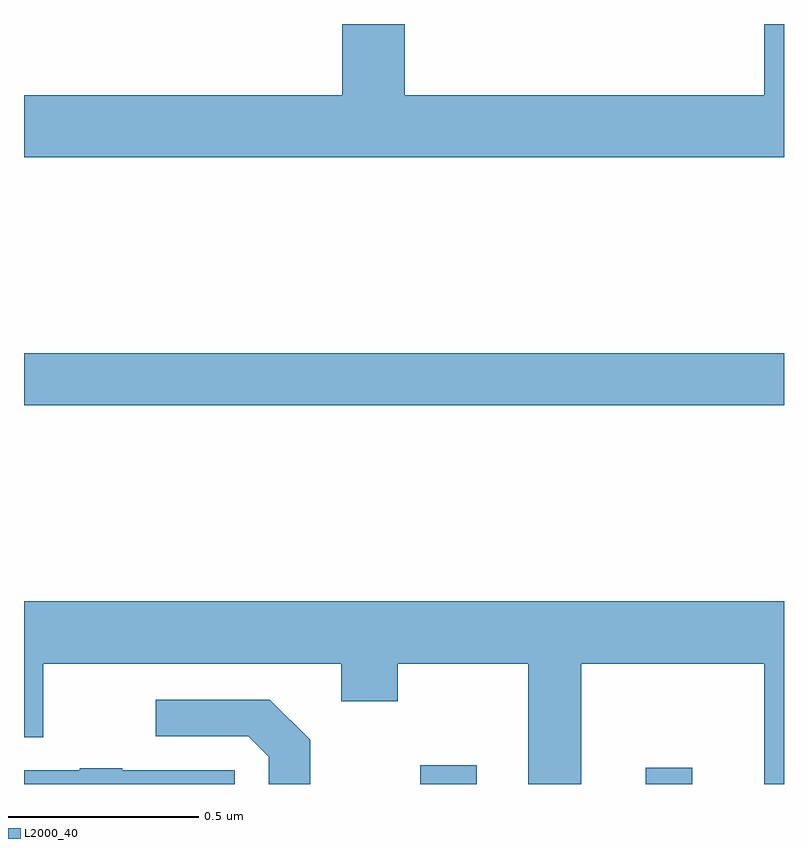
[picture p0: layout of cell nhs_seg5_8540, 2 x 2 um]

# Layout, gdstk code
import gdstk
lib = gdstk.Library(unit=1e-6, precision=1e-09)
def R(c, l, rs):  # rectangles x0, y0, x1, y1
    for r in rs: c.add(gdstk.rectangle(r[:2], r[2:], *l))
def P(c, l, *ps):  # polygons
    for p in ps: c.add(gdstk.Polygon(p, *l))
L2000_40 = (2000, 40)

nhs_seg5_8540 = lib.new_cell('nhs_seg5_8540')
R(nhs_seg5_8540, L2000_40, [(224.043,833.799,224.191,833.848), (224.636,833.799,224.758,833.842), (223,834.796,225,834.932)])
P(nhs_seg5_8540, L2000_40, [(225,835.799),(224.948,835.799),(224.948,835.612),(224.002,835.612),(224.002,835.799),(223.838,835.799),(223.838,835.612),(223,835.612),(223,835.448),(225,835.448)],
  [(224.467,834.116),(224.948,834.116),(224.948,833.799),(225,833.799),(225,834.28),(223,834.28),(223,833.922),(223.051,833.922),(223.051,834.116),(223.835,834.116),(223.835,834.017),(223.983,834.017),(223.983,834.116),(224.327,834.116),(224.327,833.799),(224.467,833.799)],
  [(223.753,833.915),(223.647,834.021),(223.347,834.021),(223.347,833.925),(223.59,833.925),(223.644,833.871),(223.644,833.799),(223.753,833.799)],
  [(223.554,833.835),(223.259,833.835),(223.259,833.84),(223.147,833.84),(223.147,833.835),(223,833.835),(223,833.799),(223.554,833.799)])

lib.write_gds('nhs_seg5_8540.gds')
